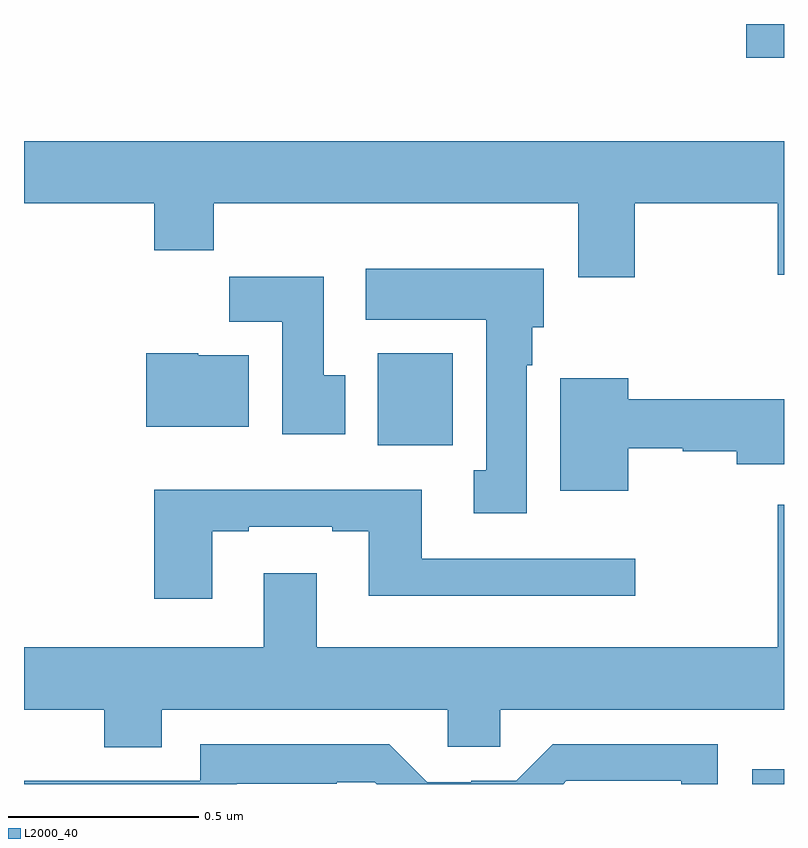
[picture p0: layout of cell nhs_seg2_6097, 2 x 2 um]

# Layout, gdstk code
import gdstk
lib = gdstk.Library(unit=1e-6, precision=1e-09)
def R(c, l, rs):  # rectangles x0, y0, x1, y1
    for r in rs: c.add(gdstk.rectangle(r[:2], r[2:], *l))
def P(c, l, *ps):  # polygons
    for p in ps: c.add(gdstk.Polygon(p, *l))
L2000_40 = (2000, 40)

nhs_seg2_6097 = lib.new_cell('nhs_seg2_6097')
R(nhs_seg2_6097, L2000_40, [(188.917,620.8,189,620.839), (187.931,621.692,188.128,621.934), (188.901,622.711,189,622.8)])
P(nhs_seg2_6097, L2000_40, [(188.607,622.328),(188.984,622.328),(188.984,622.14),(189,622.14),(189,622.492),(187,622.492),(187,622.328),(187.343,622.328),(187.343,622.204),(187.499,622.204),(187.499,622.328),(188.459,622.328),(188.459,622.134),(188.607,622.134)],
  [(188.323,621.902),(188.338,621.902),(188.338,622.002),(188.368,622.002),(188.368,622.156),(187.899,622.156),(187.899,622.022),(188.216,622.022),(188.216,621.626),(188.183,621.626),(188.183,621.513),(188.323,621.513)],
  [(187.846,621.876),(187.789,621.876),(187.789,622.135),(187.54,622.135),(187.54,622.016),(187.679,622.016),(187.679,621.72),(187.846,621.72)],
  [(187.591,621.928),(187.458,621.928),(187.458,621.934),(187.322,621.934),(187.322,621.74),(187.591,621.74)],
  [(188.59,621.684),(188.733,621.684),(188.733,621.676),(188.876,621.676),(188.876,621.641),(189,621.641),(189,621.812),(188.59,621.812),(188.59,621.868),(188.411,621.868),(188.411,621.572),(188.59,621.572)],
  [(187.495,621.465),(187.591,621.465),(187.591,621.477),(187.811,621.477),(187.811,621.465),(187.907,621.465),(187.907,621.296),(188.608,621.296),(188.608,621.393),(188.047,621.393),(188.047,621.574),(187.343,621.574),(187.343,621.288),(187.495,621.288)],
  [(187.363,620.996),(188.115,620.996),(188.115,620.898),(188.253,620.898),(188.253,620.996),(189,620.996),(189,621.535),(188.984,621.535),(188.984,621.16),(187.771,621.16),(187.771,621.355),(187.631,621.355),(187.631,621.16),(187,621.16),(187,620.996),(187.211,620.996),(187.211,620.897),(187.363,620.897)],
  [(187.56,620.801),(187.823,620.801),(187.823,620.805),(187.923,620.805),(187.928,620.8),(188.419,620.8),(188.427,620.808),(188.73,620.808),(188.73,620.8),(188.826,620.8),(188.826,620.904),(188.391,620.904),(188.295,620.808),(188.177,620.808),(188.177,620.805),(188.061,620.805),(187.961,620.905),(187.464,620.905),(187.464,620.808),(187,620.808),(187,620.8),(187.56,620.8)])

lib.write_gds('nhs_seg2_6097.gds')
